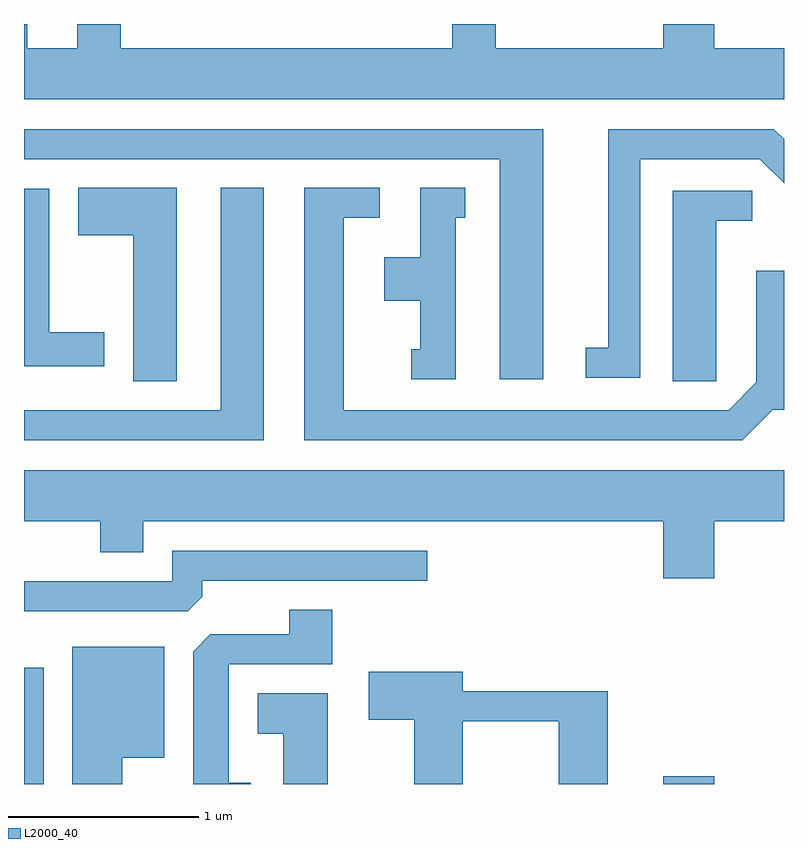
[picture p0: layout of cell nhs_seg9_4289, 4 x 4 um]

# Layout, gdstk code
import gdstk
lib = gdstk.Library(unit=1e-6, precision=1e-09)
def R(c, l, rs):  # rectangles x0, y0, x1, y1
    for r in rs: c.add(gdstk.rectangle(r[:2], r[2:], *l))
def P(c, l, *ps):  # polygons
    for p in ps: c.add(gdstk.Polygon(p, *l))
L2000_40 = (2000, 40)

nhs_seg9_4289 = lib.new_cell('nhs_seg9_4289')
R(nhs_seg9_4289, L2000_40, [(311.611,1990.432,311.714,1991.044), (314.976,1990.432,315.244,1990.474)])
P(nhs_seg9_4289, L2000_40, [(315.611,1994.304),(315.244,1994.304),(315.244,1994.432),(314.976,1994.432),(314.976,1994.304),(314.094,1994.304),(314.094,1994.432),(313.866,1994.432),(313.866,1994.304),(312.119,1994.304),(312.119,1994.432),(311.891,1994.432),(311.891,1994.304),(311.629,1994.304),(311.629,1994.432),(311.611,1994.432),(311.611,1994.036),(315.611,1994.036)],
  [(314.854,1993.721),(315.484,1993.721),(315.611,1993.594),(315.611,1993.825),(315.557,1993.879),(314.686,1993.879),(314.686,1992.729),(314.568,1992.729),(314.568,1992.571),(314.854,1992.571)],
  [(314.344,1993.879),(311.611,1993.879),(311.611,1993.721),(314.116,1993.721),(314.116,1992.561),(314.344,1992.561)],
  [(312.874,1993.569),(312.646,1993.569),(312.646,1992.399),(311.611,1992.399),(311.611,1992.241),(312.874,1992.241)],
  [(315.552,1992.401),(315.611,1992.401),(315.611,1993.133),(315.466,1993.133),(315.466,1992.547),(315.319,1992.399),(313.294,1992.399),(313.294,1993.411),(313.483,1993.411),(313.483,1993.569),(313.086,1993.569),(313.086,1992.241),(315.392,1992.241)],
  [(312.414,1993.569),(311.896,1993.569),(311.896,1993.321),(312.186,1993.321),(312.186,1992.551),(312.414,1992.551)],
  [(313.884,1993.411),(313.933,1993.411),(313.933,1993.569),(313.696,1993.569),(313.696,1993.204),(313.506,1993.204),(313.506,1992.976),(313.696,1992.976),(313.696,1992.719),(313.648,1992.719),(313.648,1992.561),(313.884,1992.561)],
  [(312.034,1992.809),(311.744,1992.809),(311.744,1993.564),(311.611,1993.564),(311.611,1992.631),(312.034,1992.631)],
  [(315.254,1993.396),(315.443,1993.396),(315.443,1993.554),(315.026,1993.554),(315.026,1992.551),(315.254,1992.551)],
  [(315.244,1991.816),(315.611,1991.816),(315.611,1992.084),(311.611,1992.084),(311.611,1991.816),(312.011,1991.816),(312.011,1991.651),(312.239,1991.651),(312.239,1991.816),(314.976,1991.816),(314.976,1991.516),(315.244,1991.516)],
  [(312.549,1991.417),(312.549,1991.501),(313.733,1991.501),(313.733,1991.659),(312.391,1991.659),(312.391,1991.499),(311.611,1991.499),(311.611,1991.341),(312.474,1991.341)],
  [(312.804,1990.439),(312.689,1990.439),(312.689,1991.061),(313.234,1991.061),(313.234,1991.349),(313.006,1991.349),(313.006,1991.219),(312.592,1991.219),(312.501,1991.129),(312.501,1990.432),(312.804,1990.432)],
  [(312.129,1990.571),(312.349,1990.571),(312.349,1991.154),(311.866,1991.154),(311.866,1990.432),(312.129,1990.432)],
  [(313.919,1990.761),(314.426,1990.761),(314.426,1990.432),(314.684,1990.432),(314.684,1990.919),(313.919,1990.919),(313.919,1991.024),(313.426,1991.024),(313.426,1990.771),(313.666,1990.771),(313.666,1990.432),(313.919,1990.432)],
  [(313.209,1990.909),(312.841,1990.909),(312.841,1990.696),(312.976,1990.696),(312.976,1990.432),(313.209,1990.432)])

lib.write_gds('nhs_seg9_4289.gds')
